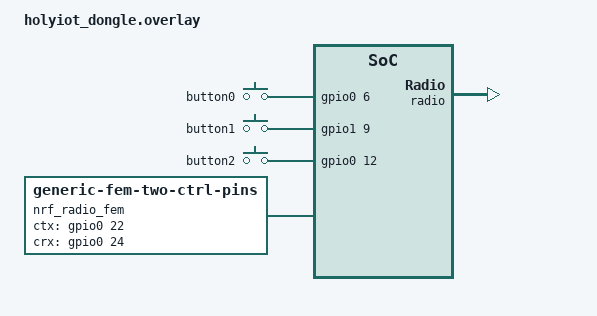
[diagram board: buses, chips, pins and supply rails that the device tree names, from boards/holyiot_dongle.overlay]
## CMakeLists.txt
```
# SPDX-License-Identifier: Apache-2.0

cmake_minimum_required(VERSION 3.20.0)
find_package(Zephyr REQUIRED HINTS $ENV{ZEPHYR_BASE})
project(iso_broadcast)

target_sources(app PRIVATE
    src/main.c
    src/ble.c
    src/gpio.c
)
```

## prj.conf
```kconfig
# enable logging
CONFIG_LOG=y

# enable BLE with extended periodic advertisement
CONFIG_BT=y
CONFIG_BT_DEVICE_NAME="TTF Periodic Advertiser"
CONFIG_BT_ISO_BROADCASTER=y
CONFIG_BT_ISO_MAX_CHAN=1
CONFIG_BT_ISO_TX_BUF_COUNT=4

# Just needs to send a uint32_t value
CONFIG_BT_ISO_TX_MTU=4

# increase BLE range by setting TX power to +8dBm
CONFIG_BT_CTLR_TX_PWR_PLUS_8=y
#CONFIG_BT_CTLR_ISOAL_SN_STRICT=n

# configure GPIO polling interval
CONFIG_TTL_GPIO_POLLING_INTERVAL_MS=10
```

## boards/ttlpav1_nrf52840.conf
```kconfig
#https://devzone.nordicsemi.com/f/nordic-q-a/80835/how-to-configure-low-frequency-external-source-in-zephyr
# activate for the internal RC oscillator
CONFIG_CLOCK_CONTROL_NRF_K32SRC_RC=y
CONFIG_CLOCK_CONTROL_NRF_K32SRC_RC_CALIBRATION=y
CONFIG_CLOCK_CONTROL_NRF_K32SRC_500PPM=y

# activate the external crystal
#CONFIG_CLOCK_CONTROL_NRF_K32SRC_XTAL=y
#CONFIG_CLOCK_CONTROL_NRF_K32SRC_20PPM=y
```

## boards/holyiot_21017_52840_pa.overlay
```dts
/ {
  aliases {
    /delete-property/ sw0;
    /delete-property/ sw1;
    /delete-property/ sw2;
    /delete-property/ sw3;
    /delete-property/ mcuboot-button0;

    ttl-break = &button0; /* fine */
    ttl-tleft = &button1;
    ttl-tright = &button2; /* fine */
  };
};

/* Define buttons -> light sniffing gpios */
/ {
  /delete-node/ buttons;

  buttons {
    compatible = "gpio-keys";
    button0: button_0 {
      gpios = <&gpio0 6 (GPIO_ACTIVE_HIGH | GPIO_PULL_DOWN)>;
    };

    button1: button1 {
      gpios = <&gpio1 9 (GPIO_ACTIVE_HIGH | GPIO_PULL_DOWN)>;
    };

    button2: button2 {
      gpios = <&gpio0 12 (GPIO_ACTIVE_HIGH | GPIO_PULL_DOWN)>;
    };

  };
};


/**
 * Configure FEM for nrf52840 radio as stated in dts/bindings/net/wireless/nordic,nrf-radio.yaml
 * Checkout schematic from: http: //www.holyiot.com/tp/2021091017064271075.pdf
 *
 * They have not incooperated an official nrf21540 FEM, so let's use as `generic-fem-two-ctrl-pins`
 */
 /*
/ {
  nrf_radio_fem: holyiot_dongle_fem {
    compatible = "generic-fem-two-ctrl-pins";
    ctx-gpios = <&gpio0 22 GPIO_ACTIVE_HIGH>; // from datasheet
    ctx-settle-time-us = <10>; // some empiric value
    crx-gpios = <&gpio0 24 GPIO_ACTIVE_HIGH>; // some empiric value
    crx-settle-time-us = <10>; // some empiric value
    rx-gain-db = <12>;
    tx-gain-db = <25>;
  };
};

&radio {
  fem = <&nrf_radio_fem>;
};
*/
```

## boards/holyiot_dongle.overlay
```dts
/ {
  aliases {
    /delete-property/ sw0;
    /delete-property/ sw1;
    /delete-property/ sw2;
    /delete-property/ sw3;
    /delete-property/ mcuboot-button0;

    ttl-break = &button0; /* fine */
    ttl-tleft = &button1;
    ttl-tright = &button2; /* fine */
  };
};

/* Define buttons -> light sniffing gpios */
/ {
  /delete-node/ buttons;

  buttons {
    compatible = "gpio-keys";
    button0: button_0 {
      gpios = <&gpio0 6 (GPIO_ACTIVE_HIGH | GPIO_PULL_DOWN)>;
    };

    button1: button1 {
      gpios = <&gpio1 9 (GPIO_ACTIVE_HIGH | GPIO_PULL_DOWN)>;
    };

    button2: button2 {
      gpios = <&gpio0 12 (GPIO_ACTIVE_HIGH | GPIO_PULL_DOWN)>;
    };

  };
};


/**
 * Configure FEM for nrf52840 radio as stated in dts/bindings/net/wireless/nordic,nrf-radio.yaml
 * Checkout schematic from: http: //www.holyiot.com/tp/2021091017064271075.pdf
 *
 * They have not incooperated an official nrf21540 FEM, so let's use as `generic-fem-two-ctrl-pins`
 */
/ {
  nrf_radio_fem: holyiot_dongle_fem {
    compatible = "generic-fem-two-ctrl-pins";
    ctx-gpios = <&gpio0 22 GPIO_ACTIVE_HIGH>; // from datasheet
    ctx-settle-time-us = <10>; // some empiric value
    crx-gpios = <&gpio0 24 GPIO_ACTIVE_HIGH>; // some empiric value
    crx-settle-time-us = <10>; // some empiric value
    rx-gain-db = <12>;
    tx-gain-db = <25>;
  };
};

&radio {
  fem = <&nrf_radio_fem>;
};
```

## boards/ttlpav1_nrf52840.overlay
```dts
/* Define buttons -> light sniffing gpios */
/ {
    aliases {
		/delete-property/ sw0;
		/delete-property/ sw1;
		/delete-property/ sw2;
		/delete-property/ sw3;
    /delete-property/ mcuboot-button0;

    ttl-break = &button2;
    ttl-tleft = &button0;
    ttl-tright = &button1;
	};

  /delete-node/ buttons;

  buttons {
		compatible = "gpio-keys";
		button0: button_0 {
			gpios = < &gpio0 22 (GPIO_ACTIVE_HIGH | GPIO_PULL_DOWN)>;
		};
  
    button1: button1 {
      gpios = < &gpio0 23 (GPIO_ACTIVE_HIGH | GPIO_PULL_DOWN)>;
    };

    button2: button2 {
      gpios = < &gpio1 0 (GPIO_ACTIVE_HIGH | GPIO_PULL_DOWN)>;
    };

	};
};
```

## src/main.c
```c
#include <zephyr/kernel.h>
#include <zephyr/logging/log.h>

#include "ble.h"
#include "gpio.h"
#include "ttl.h"

LOG_MODULE_REGISTER(ttl_main, LOG_LEVEL_INF);

int main(void) {
  ttl_err_t ret = 0;
  LOG_INF("Initiating TTLight Controller\n");

  ret = ttl_ble_init();
  if (TTL_OK != ret) {
    LOG_ERR("Failed to initialize the TTLight BLE stack");
    return ret;
  }

  ret = ttl_gpio_init();
  if (TTL_OK != ret) {
    LOG_ERR("Failed to initialize the TTLight GPIO stack");
    return ret;
  }
  ttl_gpio_register_cb(ttl_ble_upd_status);

  ret = ttl_gpio_run();
  if (TTL_OK != ret) {
    LOG_ERR("Failed to start continuously TTLState sampling");
    return TTL_ERR;
  }

  ret = ttl_ble_run();
  if (TTL_OK != ret) {
    LOG_ERR(
        "Failed to start continuously sending current TTL state via    BLE\n");
    return TTL_ERR;
  }

  while (1) {
    LOG_INF("TTLight Controller is running\n");
    k_sleep(K_MSEC(1000));
  }
  return TTL_OK;
}
```

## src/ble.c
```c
#include <zephyr/bluetooth/bluetooth.h>
#include <zephyr/bluetooth/iso.h>
#include <zephyr/logging/log.h>
#include <zephyr/sys/byteorder.h>

#include "ttl.h"
#include "zephyr/kernel.h"

LOG_MODULE_REGISTER(ttl_ble, LOG_LEVEL_DBG);

#define BUF_ALLOC_TIMEOUT_MS (10)
#define BIG_TERMINATE_TIMEOUT_US (60 * USEC_PER_SEC)
#define BIG_SDU_INTERVAL_US (10000)
#define BIS_ISO_CHAN_COUNT 1

NET_BUF_POOL_FIXED_DEFINE(bis_tx_pool, BIS_ISO_CHAN_COUNT,
                          BT_ISO_SDU_BUF_SIZE(CONFIG_BT_ISO_TX_MTU),
                          CONFIG_BT_CONN_TX_USER_DATA_SIZE, NULL);

static K_SEM_DEFINE(sem_big_cmplt, 0, BIS_ISO_CHAN_COUNT);
static K_SEM_DEFINE(sem_big_term, 0, BIS_ISO_CHAN_COUNT);
static K_SEM_DEFINE(sem_iso_data, CONFIG_BT_ISO_TX_BUF_COUNT,
                    CONFIG_BT_ISO_TX_BUF_COUNT);

static uint16_t seq_num;
static ttl_state_t ttl_state;
static K_SEM_DEFINE(sem_ttl_state, 1, 1);
static uint8_t iso_data[sizeof(ttl_state)] = {0};

// ttl ble thread objects
#define TTL_BLE_STACK_SIZE (2048)
static K_KERNEL_STACK_DEFINE(ttl_ble_thread_stack, TTL_BLE_STACK_SIZE);
static struct k_thread ttl_ble_thread_data;

static void iso_connected(struct bt_iso_chan *chan) {
  LOG_INF("ISO Channel %p connected", chan);
  seq_num = 0U;
  k_sem_give(&sem_big_cmplt);
}

static void iso_disconnected(struct bt_iso_chan *chan, uint8_t reason) {
  LOG_INF("ISO Channel %p disconnected with reason 0x%02x", chan, reason);
  k_sem_give(&sem_big_term);
}

static void iso_sent(struct bt_iso_chan *chan) { k_sem_give(&sem_iso_data); }

static struct bt_iso_chan_ops iso_ops = {
    .connected = iso_connected,
    .disconnected = iso_disconnected,
    .sent = iso_sent,
};

static struct bt_iso_chan_io_qos iso_tx_qos = {
    .sdu = sizeof(uint32_t), /* bytes */
    .rtn = 2,
    .phy = BT_GAP_LE_PHY_1M,
};

static struct bt_iso_chan_qos bis_iso_qos = {
    .tx = &iso_tx_qos,
};

static struct bt_iso_chan bis_iso_chan = {
    .ops = &iso_ops,
    .qos = &bis_iso_qos,
};

static struct bt_iso_chan *bis[] = {&bis_iso_chan};

static struct bt_iso_big_create_param big_create_param = {
    .num_bis = BIS_ISO_CHAN_COUNT,
    .bis_channels = bis,
    .interval = BIG_SDU_INTERVAL_US, /* in microseconds */
    .latency = 10,                   /* in milliseconds */
    .packing = 0,                    /* 0 - sequential, 1 - interleaved */
    .framing = 0,                    /* 0 - unframed, 1 - framed */
};

static const struct bt_data ad[] = {
    BT_DATA(BT_DATA_NAME_COMPLETE, CONFIG_BT_DEVICE_NAME,
            sizeof(CONFIG_BT_DEVICE_NAME) - 1),
};

static int ttl_ble_enable() {
  struct bt_le_ext_adv *adv;
  struct bt_iso_big *big;
  int err;

  LOG_INF("Starting to initiate BLE stack for TTLight");

  /* Initialize the Bluetooth Subsystem */
  err = bt_enable(NULL);
  if (err) {
    LOG_ERR("Bluetooth init failed (err %d)", err);
    return TTL_ERR;
  }

  /* Create a non-connectable advertising set */
  err = bt_le_ext_adv_create(BT_LE_EXT_ADV_NCONN, NULL, &adv);
  if (err) {
    LOG_ERR("Failed to create advertising set (err %d)", err);
    return TTL_ERR;
  }

  /* Set advertising data to have complete local name set */
  err = bt_le_ext_adv_set_data(adv, ad, ARRAY_SIZE(ad), NULL, 0);
  if (err) {
    LOG_ERR("Failed to set advertising data (err %d)\n", err);
    return TTL_ERR;
  }

  /* Set periodic advertising parameters */
  err = bt_le_per_adv_set_param(adv, BT_LE_PER_ADV_DEFAULT);
  if (err) {
    LOG_ERR("Failed to set periodic advertising parameters (err %d)", err);
    return TTL_ERR;
  }

  /* Enable Periodic Advertising */
  err = bt_le_per_adv_start(adv);
  if (err) {
    LOG_ERR("Failed to enable periodic advertising (err %d)", err);
    return TTL_ERR;
  }

  /* Start extended advertising */
  err = bt_le_ext_adv_start(adv, BT_LE_EXT_ADV_START_DEFAULT);
  if (err) {
    LOG_ERR("Failed to start extended advertising (err %d)", err);
    return TTL_ERR;
  }

  /* Create BIG */
  err = bt_iso_big_create(adv, &big_create_param, &big);
  if (err) {
    LOG_ERR("Failed to create BIG (err %d)", err);
    return TTL_ERR;
  }

  LOG_INF("Waiting for BIG complete chan...");
  err = k_sem_take(&sem_big_cmplt, K_FOREVER);
  if (err) {
    LOG_ERR("failed (err %d)", err);
    return TTL_ERR;
  }
  LOG_INF("BIG create complete chan.\n");

  return TTL_OK;
}

static int ttl_ble_broadcast() {
  while (true) {
    struct net_buf *buf;
    int ret;

    buf = net_buf_alloc(&bis_tx_pool, K_FOREVER);
    if (!buf) {
      LOG_INF("Data buffer allocate timeout on channel");
      return 0;
    }

    ret = k_sem_take(&sem_iso_data, K_FOREVER);
    if (ret) {
      LOG_INF("k_sem_take for ISO data sent failed\n");
      net_buf_unref(buf);
      return 0;
    }

    net_buf_reserve(buf, BT_ISO_CHAN_SEND_RESERVE);
    // NOTE: we do not check the error code, because it anyway waits FOREVER
    k_sem_take(&sem_ttl_state, K_FOREVER);
    sys_put_le32(ttl_state.entire, iso_data);
    k_sem_give(&sem_ttl_state);
    net_buf_add_mem(buf, iso_data, sizeof(iso_data));
    // LOG_INF("Broadcasting data with len: %u", buf->len);

    ret = bt_iso_chan_send(&bis_iso_chan, buf, seq_num);
    if (ret < 0) {
      LOG_INF("Unable to broadcast data on channel with error code: %d", ret);
      net_buf_unref(buf);
      return 0;
    }

    if ((seq_num % CONFIG_TTL_STATE_PRINT_INTERVAL) == 0) {
      PRINT_TTL_STATE(ttl_state);
    }
    seq_num++;
  }

  return TTL_OK;
}

/**
 * @brief Main TTL BLE thread loop
 */
static void ttl_ble_thread_main() {
  int ret = 0;
  LOG_INF("TTLight starts to initiate the BLE Stack");
  ret = ttl_ble_enable();
  if (TTL_OK != ret) {
    LOG_ERR("Failed to initiate the TTLight BLE stack");
    return;
  }
  LOG_INF("TTLight started the BLE Stack successfully");

  LOG_INF("TTLight starts to broadcast current state");
  ret = ttl_ble_broadcast();
  if (TTL_OK != ret) {
    LOG_ERR("Failed to broadcast the current TTLight BLE state");
    return;
  }
  LOG_INF("TTLight finished to broadcast current state");

  return;
}

ttl_err_t ttl_ble_init(void) {
  // nothing special to do, just to keep interface straight
  return TTL_OK;
}

ttl_err_t ttl_ble_run(void) {
  /* Start a thread to offload disk ops */
  k_thread_create(&ttl_ble_thread_data, ttl_ble_thread_stack,
                  TTL_BLE_STACK_SIZE, (k_thread_entry_t)ttl_ble_thread_main,
                  NULL, NULL, NULL, -5, 0, K_NO_WAIT);
  k_thread_name_set(&ttl_ble_thread_data, "ttl_ble_worker");

  return TTL_OK;
}

ttl_err_t ttl_ble_upd_status(ttl_state_t state) {
  if (state.entire != ttl_state.entire) {
    LOG_INF("Updated TTLight state to:");
    PRINT_TTL_STATE(state);

    k_sem_take(&sem_ttl_state, K_FOREVER);
    ttl_state = state;
    k_sem_give(&sem_ttl_state);
  }

  return TTL_OK;
}
```

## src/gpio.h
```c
#ifndef GPIO_H
#define GPIO_H

#include "ttl.h"

/**
 * @brief Initiate the TTL GPIO module.
 * This function prepares the internal data struct and configures the GPIO pins.
 *
 * @return #ttl_err_t
 */
ttl_err_t ttl_gpio_init(void);

/**
 * @brief Start sampling the current TTLight GPIO state in dedicated thread.
 *
 * @return #ttl_err_t
 */
ttl_err_t ttl_gpio_run(void);

/**
 * @brief Stop sampling the current TTLight GPIO state in dedicated thread. This
 * function does not destroy the thread.
 *
 * @return #ttl_err_t
 */
ttl_err_t ttl_gpio_terminate(void);

/**
 * @brief Register callback function which should be get triggered once the
 * internal ttl state changes.
 *
 * @param[in] cb - callback to execute on ttl state changes
 */
void ttl_gpio_register_cb(ttl_upd_state_cb_t cb);

#endif
```
